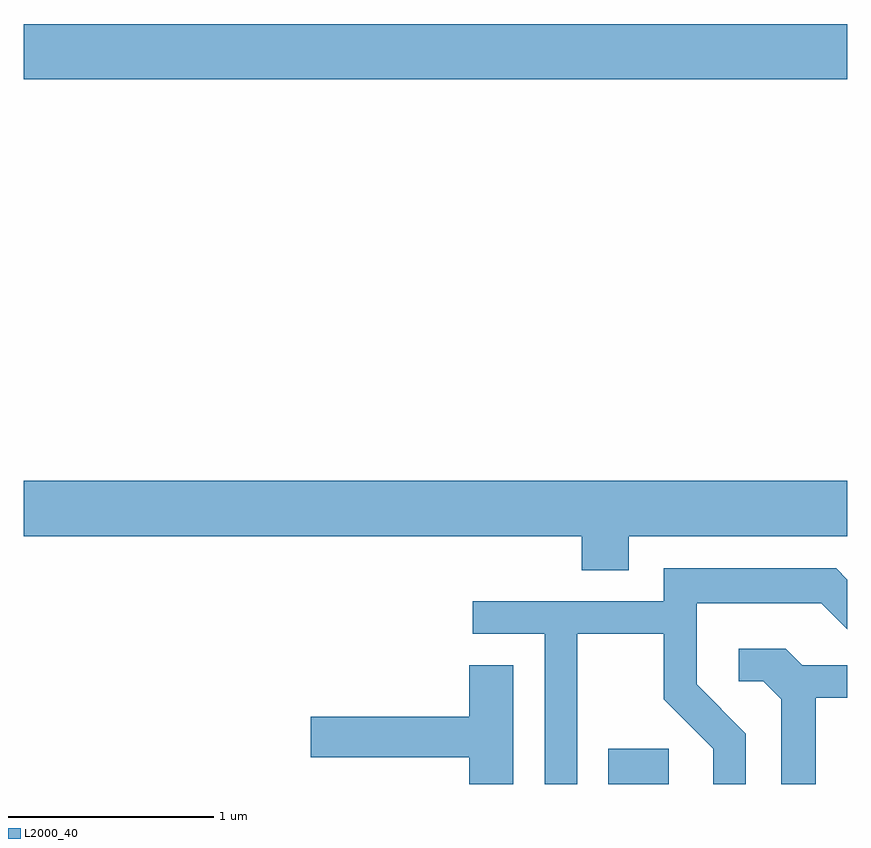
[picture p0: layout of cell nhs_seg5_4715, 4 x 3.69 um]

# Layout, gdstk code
import gdstk
lib = gdstk.Library(unit=1e-6, precision=1e-09)
def R(c, l, rs):  # rectangles x0, y0, x1, y1
    for r in rs: c.add(gdstk.rectangle(r[:2], r[2:], *l))
def P(c, l, *ps):  # polygons
    for p in ps: c.add(gdstk.Polygon(p, *l))
L2000_40 = (2000, 40)

nhs_seg5_4715 = lib.new_cell('nhs_seg5_4715')
R(nhs_seg5_4715, L2000_40, [(328.451,1420.072,328.744,1420.244), (325.611,1423.496,329.611,1423.764)])
P(nhs_seg5_4715, L2000_40, [(328.549,1421.276),(329.611,1421.276),(329.611,1421.544),(325.611,1421.544),(325.611,1421.276),(328.321,1421.276),(328.321,1421.111),(328.549,1421.111)],
  [(328.299,1420.801),(328.721,1420.801),(328.721,1420.484),(328.961,1420.244),(328.961,1420.072),(329.119,1420.072),(329.119,1420.317),(328.879,1420.557),(328.879,1420.951),(329.484,1420.951),(329.611,1420.824),(329.611,1421.065),(329.557,1421.119),(328.721,1421.119),(328.721,1420.959),(327.793,1420.959),(327.793,1420.801),(328.141,1420.801),(328.141,1420.072),(328.299,1420.072)],
  [(329.459,1420.491),(329.611,1420.491),(329.611,1420.649),(329.392,1420.649),(329.312,1420.729),(329.083,1420.729),(329.083,1420.571),(329.204,1420.571),(329.291,1420.484),(329.291,1420.072),(329.459,1420.072)],
  [(327.989,1420.649),(327.776,1420.649),(327.776,1420.399),(327.006,1420.399),(327.006,1420.201),(327.776,1420.201),(327.776,1420.072),(327.989,1420.072)])

lib.write_gds('nhs_seg5_4715.gds')
